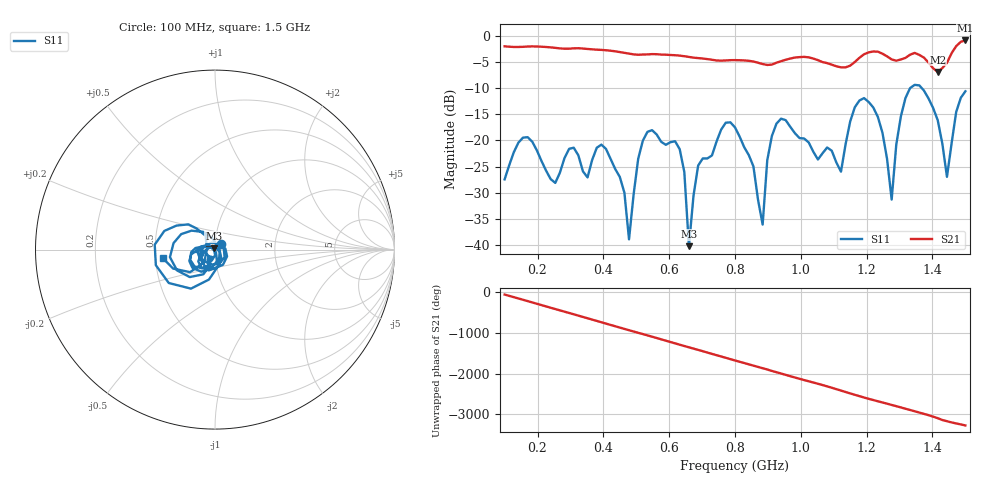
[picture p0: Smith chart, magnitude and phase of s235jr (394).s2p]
! NanoVNA-App
! Date: 2025-09-25 15:07:14
! Start: 100MHz Stop: 1,5GHz Points: 101
! S-Parameter data: F S11 S21 S12 S22
# Hz S RI R 50
!  Frequency  S11_Real  S11_Imag  S21_Real  S21_Imag  S12_Real  S12_Imag  S22_Real  S22_Imag
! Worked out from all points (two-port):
!   101 points, 100 MHz to 1.5 GHz, reference 50 ohm
!   highest |S21| = -0.84 dB at 1.5 GHz (marker M1); lowest = -6.9 dB at 1.416 GHz (marker M2)
!   |S21| within 3 dB of the highest: start of sweep to 643.4 MHz; 1.185 GHz to 1.261 GHz (75.98 MHz wide, 6.21 % of centre) (the widest 2 of 4)
!   lowest |S11| = -40.3 dB at 660 MHz (marker M3), VSWR 1.02, Z = 49.3 + j0.63 ohm
!   |S11| at or under -10 dB: start of sweep to 1.332 GHz; 1.368 GHz to end of sweep
!   S12 and S22 are empty: the file has one direction only
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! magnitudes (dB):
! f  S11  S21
! 100 MHz  -27.5  -2.0
! 156 MHz  -19.5  -2.1
! 338 MHz  -25.9  -2.4
! 408 MHz  -21.6  -2.7
! 478 MHz  -39.0  -3.4
! 520 MHz  -20.0  -3.5
! 576 MHz  -20.3  -3.5
! 632 MHz  -21.7  -3.7
! 660 MHz  -40.3  -4.0
! 688 MHz  -24.8  -4.2
! 800 MHz  -17.5  -4.6
! 884 MHz  -36.1  -5.4
! 926 MHz  -16.8  -5.1
! 1.038 GHz  -22.2  -4.3
! 1.122 GHz  -26.0  -6.0
! 1.192 GHz  -11.9  -3.5
! 1.248 GHz  -18.5  -3.4
! 1.276 GHz  -31.3  -4.5
! 1.332 GHz  -10.0  -3.6
! 1.416 GHz  -16.1  -6.9
! 1.444 GHz  -27.0  -5.1
! 1.5 GHz  -10.6  -0.8
